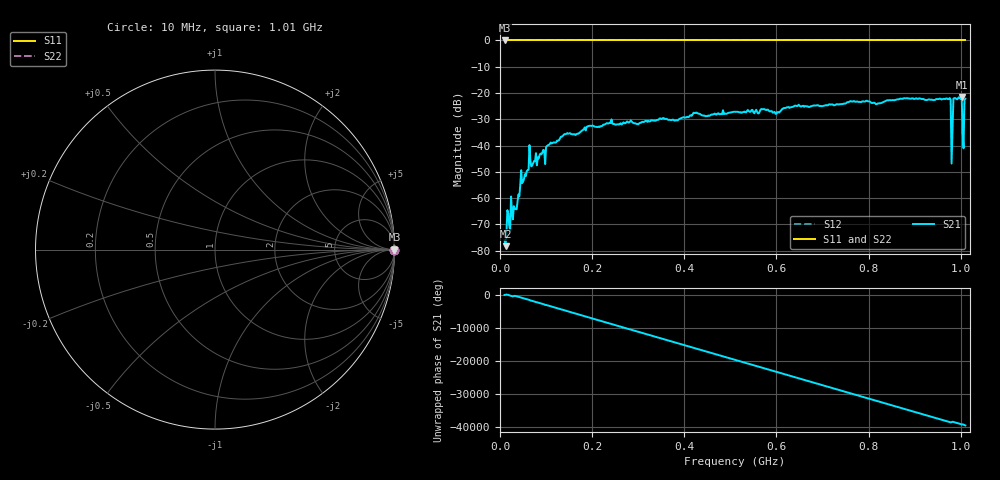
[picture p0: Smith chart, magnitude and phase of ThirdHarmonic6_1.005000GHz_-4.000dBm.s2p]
! 8/16/2025 8:10:34 AM
! C:\ANRITSUVNA\TEMP\TEMP.S2P
! CHANNEL.1
! TR.MEASUREMENT
! RAW.DATA
! RF.CORRECTION.OFF
! AVERAGING.OFF
! IF.BANDWIDTH: 5KHZ
! SWEEPTYPE:  FREQ.SWEEP(Linear)
! Reference Plane Port Info
! PORT:  PORT1  PORT2
! DISTANCE:  0  m  0  m
! TIME:  0  s  0  s
! PHASE.OFFSET:  0  deg.  0  deg.
! LOSS:  0  dB  0  dB
! REF.LOSS:  0  dB  0  dB
! REF.FREQ:  0  Hz  0  Hz
! Power Info
! POWER:  -20  dBm  -20  dBm
! EFF.POWER:  -20  dBm  -20  dBm
! SOURCE.ATTEN:  0  dB  0  dB
! TEST.ATTEN:  0  dB  0  dB
# GHZ S RI R 50.0
! FREQ.GHZ  S11RE  S11IM  S21RE  S21IM  S12RE  S12IM  S22RE  S22IM
!; PortSelection: Port_12
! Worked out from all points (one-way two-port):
!   501 points, 10 MHz to 1.01 GHz, reference 50 ohm
!   highest |S21| = -21.52 dB at 1.002 GHz (marker M1); lowest = -78.3 dB at 12 MHz (marker M2)
!   lowest |S11| = 0.0 dB at 10 MHz (marker M3)
!   |S11| at or under -10 dB: nowhere
!   |S22| runs from 0.0 to 0.0 dB; largest |S21 - S12| = 1.1
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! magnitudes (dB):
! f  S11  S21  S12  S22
! 10 MHz  0.0  -76.0  0.0  0.0
! 12 MHz  0.0  -78.3  0.0  0.0
! 20 MHz  0.0  -70.2  0.0  0.0
! 32 MHz  0.0  -64.2  0.0  0.0
! 44 MHz  0.0  -54.9  0.0  0.0
! 62 MHz  0.0  -49.3  0.0  0.0
! 136 MHz  0.0  -36.4  0.0  0.0
! 178 MHz  0.0  -34.3  0.0  0.0
! 344 MHz  0.0  -30.2  0.0  0.0
! 510 MHz  0.0  -27.2  0.0  0.0
! 678 MHz  0.0  -24.9  0.0  0.0
! 844 MHz  0.0  -22.8  0.0  0.0
! 972 MHz  0.0  -22.3  0.0  0.0
! 974 MHz  0.0  -22.3  0.0  0.0
! 978 MHz  0.0  -22.6  0.0  0.0
! 982 MHz  0.0  -34.4  0.0  0.0
! 984 MHz  0.0  -22.1  0.0  0.0
! 988 MHz  0.0  -21.9  0.0  0.0
! 998 MHz  0.0  -21.9  0.0  0.0
! 1.002 GHz  0.0  -21.5  0.0  0.0
! 1.008 GHz  0.0  -22.6  0.0  0.0
! 1.01 GHz  0.0  -22.2  0.0  0.0
